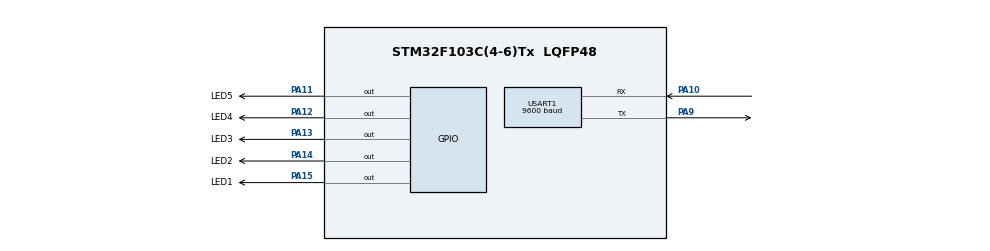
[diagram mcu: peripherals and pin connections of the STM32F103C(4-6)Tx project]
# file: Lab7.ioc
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Mcu.Family=STM32F1
Mcu.Name=STM32F103C(4-6)Tx
Mcu.Package=LQFP48
NVIC.PriorityGroup=NVIC_PRIORITYGROUP_4
NVIC.USART1_IRQn=true\:0\:0\:false\:false\:true\:true\:true
PA10.Mode=Asynchronous
PA10.Signal=USART1_RX
PA11.GPIO_Label=LED5
PA11.Signal=GPIO_Output
PA12.GPIO_Label=LED4
PA12.Signal=GPIO_Output
PA13.GPIO_Label=LED3
PA13.Signal=GPIO_Output
PA14.GPIO_Label=LED2
PA14.Signal=GPIO_Output
PA15.GPIO_Label=LED1
PA15.Signal=GPIO_Output
PA9.Mode=Asynchronous
PA9.Signal=USART1_TX
ProjectManager.HeapSize=0x200
ProjectManager.StackSize=0x400
ProjectManager.TargetToolchain=STM32CubeIDE
RCC.APB1Freq_Value=8000000
RCC.APB2Freq_Value=8000000
USART1.BaudRate=9600
USART1.VirtualMode=VM_ASYNC
VP_SYS_VS_ND.Mode=No_Debug
board=custom

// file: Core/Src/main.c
/* USER CODE BEGIN Header */
/**
  ******************************************************************************
  * @file           : main.c
  * @brief          : Main program body
  ******************************************************************************
  * @attention
  *
  * <h2><center>&copy; Copyright (c) 2021 STMicroelectronics.
  * All rights reserved.</center></h2>
  *
  * This software component is licensed by ST under BSD 3-Clause license,
  * the "License"; You may not use this file except in compliance with the
  * License. You may obtain a copy of the License at:
  *                        opensource.org/licenses/BSD-3-Clause
  *
  ******************************************************************************
  */
/* USER CODE END Header */
#include "main.h"

UART_HandleTypeDef huart1;

/* USER CODE BEGIN PV */
uint8_t str[1];
/* USER CODE END PV */

void SystemClock_Config(void);
static void MX_GPIO_Init(void);
static void MX_USART1_UART_Init(void);

int main(void)
{

  /* MCU Configuration--------------------------------------------------------*/

  /* Reset of all peripherals, Initializes the Flash interface and the Systick. */
  HAL_Init();

  /* Configure the system clock */
  SystemClock_Config();

  /* Initialize all configured peripherals */
  MX_GPIO_Init();
  MX_USART1_UART_Init();
  /* USER CODE BEGIN 2 */
  HAL_UART_Receive_IT(&huart1, str, 1);
  /* USER CODE END 2 */

  /* Infinite loop */
  /* USER CODE BEGIN WHILE */
  while (1)
  {
	  if(str[0] == '1')
		  HAL_GPIO_WritePin(LED1_GPIO_Port, LED1_Pin, 1);
	  if(str[0] == '2')
	  		  HAL_GPIO_WritePin(LED2_GPIO_Port, LED2_Pin, 1);
	  if(str[0] == '3')
	  		  HAL_GPIO_WritePin(LED3_GPIO_Port, LED3_Pin, 1);
	  if(str[0] == '4')
	  		  HAL_GPIO_WritePin(LED4_GPIO_Port, LED4_Pin, 1);
	  if(str[0] == '5')
	  		  HAL_GPIO_WritePin(LED1_GPIO_Port, LED1_Pin, 0);
	  if(str[0] == '6')
	  		  HAL_GPIO_WritePin(LED2_GPIO_Port, LED2_Pin, 0);
	  if(str[0] == '7')
	  		  HAL_GPIO_WritePin(LED3_GPIO_Port, LED3_Pin, 0);
	  if(str[0] == '8')
	  		  HAL_GPIO_WritePin(LED4_GPIO_Port, LED4_Pin, 0);
	  if(str[0] == '9')
	  {
	  		  HAL_GPIO_TogglePin(LED5_GPIO_Port, LED5_Pin);
	  		  str[0] = 0;
	  }
    /* USER CODE END WHILE */

  }
}

void SystemClock_Config(void)
{
  RCC_OscInitTypeDef RCC_OscInitStruct = {0};
  RCC_ClkInitTypeDef RCC_ClkInitStruct = {0};

  /** Initializes the RCC Oscillators according to the specified parameters
  * in the RCC_OscInitTypeDef structure.
  */
  RCC_OscInitStruct.OscillatorType = RCC_OSCILLATORTYPE_HSI;
  RCC_OscInitStruct.HSIState = RCC_HSI_ON;
  RCC_OscInitStruct.HSICalibrationValue = RCC_HSICALIBRATION_DEFAULT;
  RCC_OscInitStruct.PLL.PLLState = RCC_PLL_NONE;
  if (HAL_RCC_OscConfig(&RCC_OscInitStruct) != HAL_OK)
  {
    Error_Handler();
  }
  /** Initializes the CPU, AHB and APB buses clocks
  */
  RCC_ClkInitStruct.ClockType = RCC_CLOCKTYPE_HCLK|RCC_CLOCKTYPE_SYSCLK
                              |RCC_CLOCKTYPE_PCLK1|RCC_CLOCKTYPE_PCLK2;
  RCC_ClkInitStruct.SYSCLKSource = RCC_SYSCLKSOURCE_HSI;
  RCC_ClkInitStruct.AHBCLKDivider = RCC_SYSCLK_DIV1;
  RCC_ClkInitStruct.APB1CLKDivider = RCC_HCLK_DIV1;
  RCC_ClkInitStruct.APB2CLKDivider = RCC_HCLK_DIV1;

  if (HAL_RCC_ClockConfig(&RCC_ClkInitStruct, FLASH_LATENCY_0) != HAL_OK)
  {
    Error_Handler();
  }
}

static void MX_USART1_UART_Init(void)
{

  huart1.Instance = USART1;
  huart1.Init.BaudRate = 9600;
  huart1.Init.WordLength = UART_WORDLENGTH_8B;
  huart1.Init.StopBits = UART_STOPBITS_1;
  huart1.Init.Parity = UART_PARITY_NONE;
  huart1.Init.Mode = UART_MODE_TX_RX;
  huart1.Init.HwFlowCtl = UART_HWCONTROL_NONE;
  huart1.Init.OverSampling = UART_OVERSAMPLING_16;
  if (HAL_UART_Init(&huart1) != HAL_OK)
  {
    Error_Handler();
  }

}

static void MX_GPIO_Init(void)
{
  GPIO_InitTypeDef GPIO_InitStruct = {0};

  /* GPIO Ports Clock Enable */
  __HAL_RCC_GPIOA_CLK_ENABLE();

  /*Configure GPIO pin Output Level */
  HAL_GPIO_WritePin(GPIOA, LED5_Pin|LED4_Pin|LED3_Pin|LED2_Pin
                          |LED1_Pin, GPIO_PIN_RESET);

  /*Configure GPIO pins : LED5_Pin LED4_Pin LED3_Pin LED2_Pin
                           LED1_Pin */
  GPIO_InitStruct.Pin = LED5_Pin|LED4_Pin|LED3_Pin|LED2_Pin
                          |LED1_Pin;
  GPIO_InitStruct.Mode = GPIO_MODE_OUTPUT_PP;
  GPIO_InitStruct.Pull = GPIO_NOPULL;
  GPIO_InitStruct.Speed = GPIO_SPEED_FREQ_LOW;
  HAL_GPIO_Init(GPIOA, &GPIO_InitStruct);

}

/* USER CODE BEGIN 4 */
void HAL_UART_RxCpltCallback(UART_HandleTypeDef *huart)
{
	HAL_UART_Receive_IT(&huart1, str, 1);
}
/* USER CODE END 4 */

void Error_Handler(void)
{
  __disable_irq();
  while (1)
  {
  }
}

/************************ (C) COPYRIGHT STMicroelectronics *****END OF FILE****/
